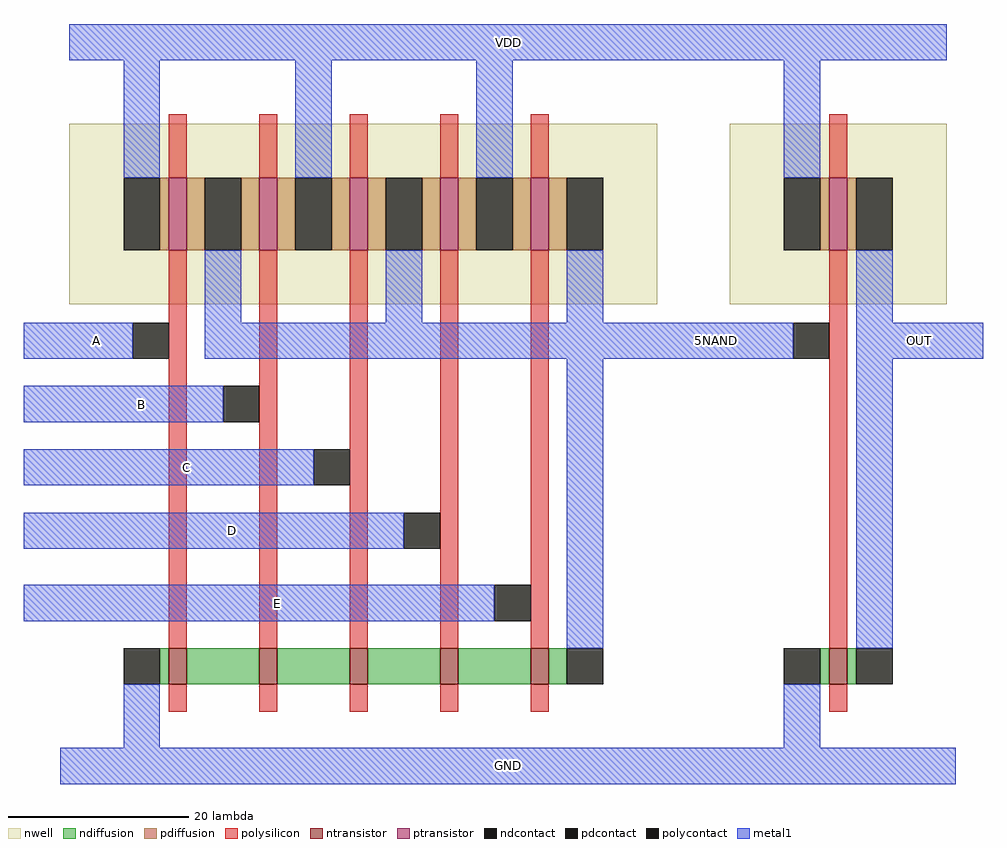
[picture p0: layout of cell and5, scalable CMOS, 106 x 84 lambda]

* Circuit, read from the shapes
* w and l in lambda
.subckt and5 5NAND A B C D E GND OUT VDD
M1 n1 A GND VSUBS nfet w=4 l=2
M2 n2 B n1 VSUBS nfet w=4 l=2
M3 n3 C n2 VSUBS nfet w=4 l=2
M4 n4 D n3 VSUBS nfet w=4 l=2
M5 5NAND E n4 VSUBS nfet w=4 l=2
M6 OUT 5NAND GND VSUBS nfet w=4 l=2
M7 5NAND A VDD n5 pfet w=8 l=2
M8 VDD B 5NAND n5 pfet w=8 l=2
M9 5NAND C VDD n5 pfet w=8 l=2
M10 VDD D 5NAND n5 pfet w=8 l=2
M11 5NAND E VDD n5 pfet w=8 l=2
M12 OUT 5NAND VDD n6 pfet w=8 l=2
.ends

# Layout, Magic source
magic
tech scmos
<< nwell >>
rect 0 -1 65 19
rect 73 -1 97 19
<< ntransistor >>
rect 11 -43 13 -39
rect 21 -43 23 -39
rect 31 -43 33 -39
rect 41 -43 43 -39
rect 51 -43 53 -39
rect 84 -43 86 -39
<< ptransistor >>
rect 11 5 13 13
rect 21 5 23 13
rect 31 5 33 13
rect 41 5 43 13
rect 51 5 53 13
rect 84 5 86 13
<< ndiffusion >>
rect 10 -43 11 -39
rect 13 -43 21 -39
rect 23 -43 31 -39
rect 33 -43 41 -39
rect 43 -43 51 -39
rect 53 -43 55 -39
rect 83 -43 84 -39
rect 86 -43 87 -39
<< pdiffusion >>
rect 10 5 11 13
rect 13 5 15 13
rect 19 5 21 13
rect 23 5 25 13
rect 29 5 31 13
rect 33 5 35 13
rect 39 5 41 13
rect 43 5 45 13
rect 49 5 51 13
rect 53 5 55 13
rect 83 5 84 13
rect 86 5 87 13
<< ndcontact >>
rect 6 -43 10 -39
rect 55 -43 59 -39
rect 79 -43 83 -39
rect 87 -43 91 -39
<< pdcontact >>
rect 6 5 10 13
rect 15 5 19 13
rect 25 5 29 13
rect 35 5 39 13
rect 45 5 49 13
rect 55 5 59 13
rect 79 5 83 13
rect 87 5 91 13
<< polysilicon >>
rect 11 13 13 20
rect 21 13 23 20
rect 31 13 33 20
rect 41 13 43 20
rect 51 13 53 20
rect 84 13 86 20
rect 11 -39 13 5
rect 21 -39 23 5
rect 31 -39 33 5
rect 41 -39 43 5
rect 51 -39 53 5
rect 84 -39 86 5
rect 11 -46 13 -43
rect 21 -46 23 -43
rect 31 -46 33 -43
rect 41 -46 43 -43
rect 51 -46 53 -43
rect 84 -46 86 -43
<< polycontact >>
rect 7 -7 11 -3
rect 17 -14 21 -10
rect 27 -21 31 -17
rect 37 -28 41 -24
rect 47 -36 51 -32
rect 80 -7 84 -3
<< metal1 >>
rect 0 26 97 30
rect 6 13 10 26
rect 25 13 29 26
rect 45 13 49 26
rect 79 13 83 26
rect 15 -3 19 5
rect 35 -3 39 5
rect 55 -3 59 5
rect 87 -3 91 5
rect -5 -7 7 -3
rect 15 -7 80 -3
rect 87 -7 101 -3
rect -5 -14 17 -10
rect -5 -21 27 -17
rect -5 -28 37 -24
rect -5 -36 47 -32
rect 55 -39 59 -7
rect 87 -39 91 -7
rect 6 -50 10 -43
rect 79 -50 83 -43
rect -1 -54 98 -50
<< labels >>
rlabel metal1 -5 -7 11 -3 1 A
rlabel metal1 -5 -14 21 -10 1 B
rlabel metal1 -5 -21 31 -17 1 C
rlabel metal1 -5 -28 41 -24 1 D
rlabel metal1 87 -7 101 -3 1 OUT
rlabel metal1 -5 -36 51 -32 1 E
rlabel metal1 0 26 97 30 5 VDD
rlabel metal1 -1 -54 98 -50 1 GND
rlabel metal1 59 -7 84 -3 1 5NAND
<< end >>
